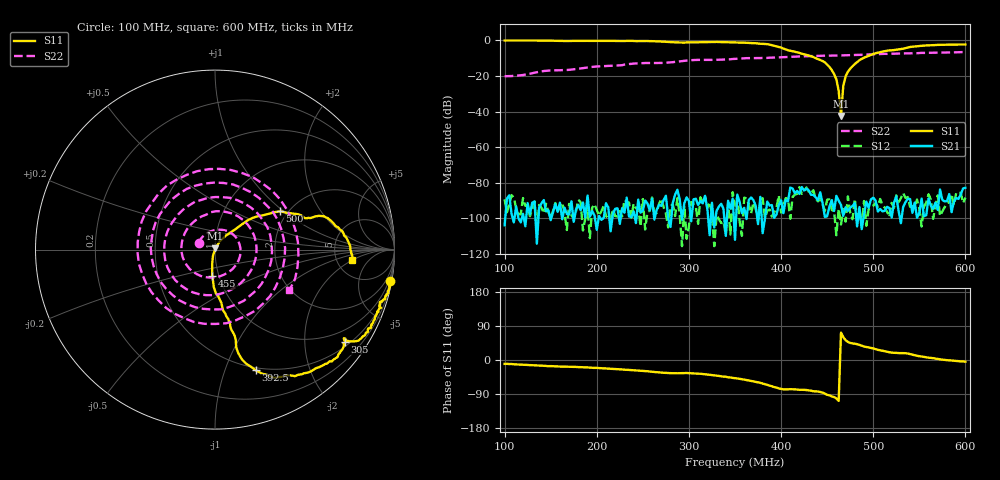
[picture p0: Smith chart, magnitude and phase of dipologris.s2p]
! Exportado en formato Magnitud (lineal) y Fase (grados)
# GHz S MA R 50
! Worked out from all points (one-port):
!   201 points, 100 MHz to 600 MHz, reference 50 ohm
!   lowest |S11| = -42.6 dB at 465 MHz (marker M1), VSWR 1.01, Z = 50.2 + j0.711 ohm
!   |S11| at or under -10 dB: 437.5 MHz to 488.9 MHz (51.31 MHz wide, 11.1 % of centre)
!   S11 on the Smith chart (normalised r, x): 100 MHz: 0, -11; 305 MHz: 0.63, -3.03; 392.5 MHz: 0.47, -1.28; 455 MHz: 0.93, -0.28; 500 MHz: 1.81, +0.94; 600 MHz: 7.03, -2.05
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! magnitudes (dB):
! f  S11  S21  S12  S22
! 100 MHz  -0.1  -104.0  -89.4  -20.1
! 117.5 MHz  -0.1  -102.4  -97.9  -19.6
! 142.5 MHz  -0.1  -89.8  -97.3  -17.2
! 185 MHz  -0.3  -91.2  -107.0  -15.6
! 267.5 MHz  -0.6  -92.5  -92.1  -12.7
! 305 MHz  -1.0  -89.4  -92.2  -11.0
! 350 MHz  -1.1  -112.1  -92.9  -10.4
! 392.5 MHz  -3.0  -99.8  -96.7  -9.6
! 435 MHz  -9.3  -86.9  -84.2  -8.8
! 447.5 MHz  -12.3  -99.3  -96.0  -8.6
! 455 MHz  -16.7  -89.9  -95.4  -8.5
! 460 MHz  -21.9  -87.5  -109.6  -8.5
! 462.5 MHz  -28.2  -90.2  -94.8  -8.5
! 465 MHz  -42.6  -92.5  -103.6  -8.4
! 467.5 MHz  -25.5  -98.7  -95.0  -8.4
! 470 MHz  -20.3  -93.9  -102.0  -8.3
! 472.5 MHz  -17.6  -95.9  -87.8  -8.3
! 485 MHz  -11.2  -93.8  -95.6  -8.1
! 500 MHz  -7.6  -88.5  -93.0  -7.8
! 517.5 MHz  -5.6  -94.3  -99.3  -7.5
! 555 MHz  -2.9  -99.0  -93.6  -7.0
! 600 MHz  -2.3  -82.9  -88.4  -6.5
